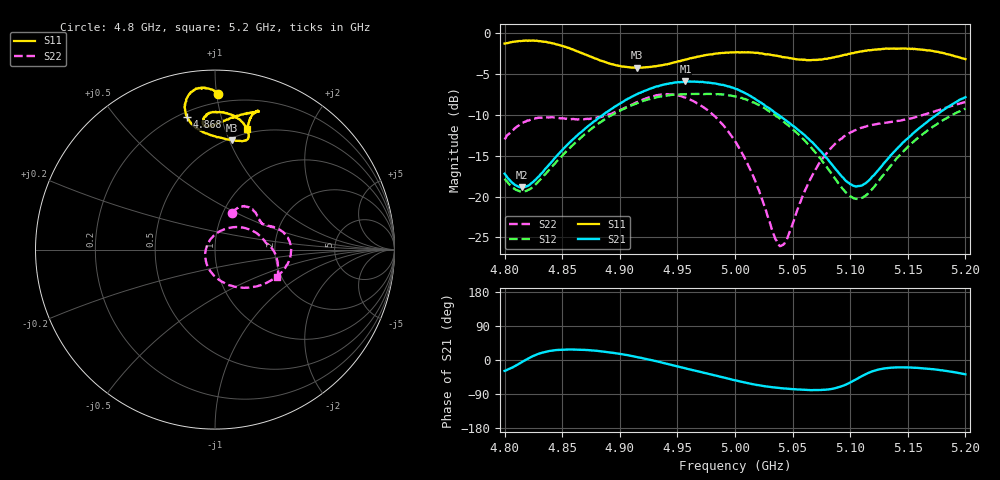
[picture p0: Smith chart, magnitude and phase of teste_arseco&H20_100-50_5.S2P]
! Network Analyzer HP8722D
! Hewlett-Packard
! Data name: Linha & Wilkinson
! Saver's name: Rodrigo Anjos
! Comments: Teste da utilização de aquisição
! continua pelo VNA HP8722D
! Time and date: 6/5/2025 12:36
!  Frequency  S11  S21  S12  S22
# HZ  S  MA R 50
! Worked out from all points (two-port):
!   401 points, 4.8 GHz to 5.2 GHz, reference 50 ohm
!   highest |S21| = -5.87 dB at 4.957 GHz (marker M1); lowest = -18.9 dB at 4.815 GHz (marker M2)
!   |S21| within 3 dB of the highest: 4.897 GHz to 5.026 GHz (129.3 MHz wide, 2.61 % of centre); 5.186455 GHz to end of sweep
!   lowest |S11| = -4.2 dB at 4.915 GHz (marker M3), VSWR 4.21, Z = 26.1 + j51.2 ohm
!   |S11| at or under -10 dB: nowhere
!   |S22| runs from -26.1 to -7.4 dB; largest |S21 - S12| = 0.88
!   S11 on the Smith chart (normalised r, x): 4.8 GHz: 0.14, +1.01; 4.868 GHz: 0.23, +0.78; 5.2 GHz: 0.46, +1.19
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4.8e9  0.8672 88.8  0.1381 -28.7  0.1285 99.7  0.2243 65.1
4.815e9  0.8993 93.2  0.1137 -5.3  0.107 119.9  0.2822 58.7
4.845e9  0.8574 100.6  0.1762 26.4  0.1637 150.9  0.3041 40.3
4.867e9  0.7579 102.0  0.2501 26.8  0.2323 154.8  0.2984 31.1
4.868e9  0.7531 101.9  0.2541 26.6  0.2354 154.8  0.2975 30.8
4.893e9  0.6492 94.1  0.3454 19.2  0.3154 150.1  0.3223 24.4
4.915e9  0.6159 81.0  0.4246 7.7  0.3737 141.6  0.3788 16.8
4.934e9  0.6354 73.9  0.4762 -5.0  0.4097 131.2  0.4204 4.8
4.957e9  0.6927 75.0  0.5085 -21.9  0.4239 116.8  0.4045 -14.5
4.981e9  0.7477 81.3  0.4953 -39.6  0.4252 101.4  0.3168 -39.3
5e9  0.7664 87.5  0.4599 -53.7  0.4123 88.0  0.2181 -66.4
5.02e9  0.7604 92.8  0.386 -66.2  0.3667 74.3  0.1122 -107.7
5.033e9  0.7359 94.9  0.3345 -72.0  0.321 67.0  0.06002 -155.0
5.039e9  0.7246 95.2  0.3116 -73.9  0.3 64.6  0.04961 169.0
5.045e9  0.7118 95.4  0.2906 -75.6  0.2776 62.3  0.05451 130.0
5.067e9  0.6878 93.0  0.2157 -79.3  0.1969 58.4  0.1343 61.2
5.085e9  0.7133 87.1  0.1545 -75.8  0.1345 64.0  0.2043 36.3
5.104e9  0.7627 79.5  0.1158 -52.8  0.0971 90.2  0.2543 19.8
5.115e9  0.7878 75.7  0.1233 -35.2  0.1035 110.1  0.271 13.7
5.134e9  0.8056 72.7  0.1742 -20.6  0.151 126.3  0.286 7.8
5.17e9  0.7845 74.5  0.2983 -23.8  0.2625 122.0  0.327 -1.4
5.2e9  0.6956 75.0  0.4066 -37.8  0.3465 110.6  0.3795 -23.9
